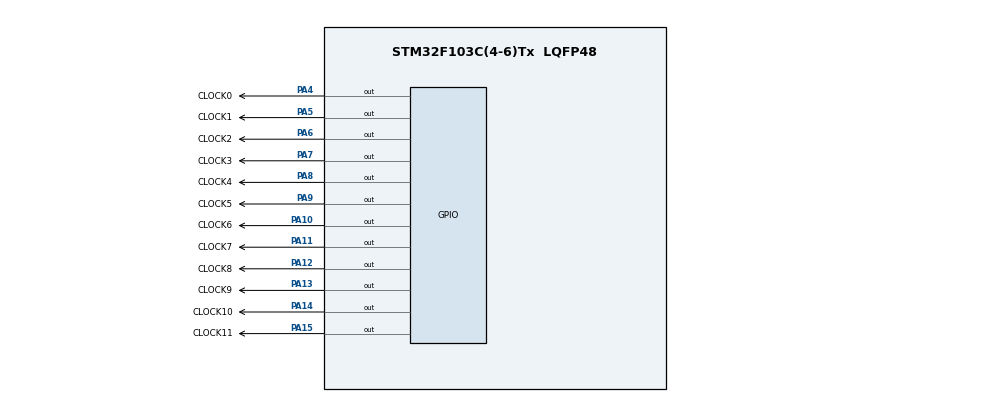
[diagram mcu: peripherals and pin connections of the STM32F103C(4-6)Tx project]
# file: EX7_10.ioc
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Mcu.Family=STM32F1
Mcu.Name=STM32F103C(4-6)Tx
Mcu.Package=LQFP48
NVIC.PriorityGroup=NVIC_PRIORITYGROUP_4
PA10.GPIO_Label=CLOCK6
PA10.Signal=GPIO_Output
PA11.GPIO_Label=CLOCK7
PA11.Signal=GPIO_Output
PA12.GPIO_Label=CLOCK8
PA12.Signal=GPIO_Output
PA13.GPIO_Label=CLOCK9
PA13.Signal=GPIO_Output
PA14.GPIO_Label=CLOCK10
PA14.Signal=GPIO_Output
PA15.GPIO_Label=CLOCK11
PA15.Signal=GPIO_Output
PA4.GPIO_Label=CLOCK0
PA4.Signal=GPIO_Output
PA5.GPIO_Label=CLOCK1
PA5.Signal=GPIO_Output
PA6.GPIO_Label=CLOCK2
PA6.Signal=GPIO_Output
PA7.GPIO_Label=CLOCK3
PA7.Signal=GPIO_Output
PA8.GPIO_Label=CLOCK4
PA8.Signal=GPIO_Output
PA9.GPIO_Label=CLOCK5
PA9.Signal=GPIO_Output
ProjectManager.HeapSize=0x200
ProjectManager.StackSize=0x400
ProjectManager.TargetToolchain=STM32CubeIDE
RCC.APB1Freq_Value=8000000
RCC.APB2Freq_Value=8000000
VP_SYS_VS_ND.Mode=No_Debug
board=custom

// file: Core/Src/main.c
/* USER CODE BEGIN Header */
/**
  ******************************************************************************
  * @file           : main.c
  * @brief          : Main program body
  ******************************************************************************
  * @attention
  *
  * <h2><center>&copy; Copyright (c) 2024 STMicroelectronics.
  * All rights reserved.</center></h2>
  *
  * This software component is licensed by ST under BSD 3-Clause license,
  * the "License"; You may not use this file except in compliance with the
  * License. You may obtain a copy of the License at:
  *                        opensource.org/licenses/BSD-3-Clause
  *
  ******************************************************************************
  */
/* USER CODE END Header */
#include "main.h"

void SystemClock_Config(void);
static void MX_GPIO_Init(void);

int main(void)
{

  /* MCU Configuration--------------------------------------------------------*/

  /* Reset of all peripherals, Initializes the Flash interface and the Systick. */
  HAL_Init();

  /* Configure the system clock */
  SystemClock_Config();

  /* Initialize all configured peripherals */
  MX_GPIO_Init();
  /* USER CODE BEGIN 2 */
  void checkLed(int num){
	  switch (num){
	  case 0:
		  HAL_GPIO_WritePin(CLOCK0_GPIO_Port, CLOCK0_Pin, RESET);
		  HAL_GPIO_WritePin(CLOCK1_GPIO_Port, CLOCK1_Pin, SET);
		  HAL_GPIO_WritePin(CLOCK2_GPIO_Port, CLOCK2_Pin, SET);
		  HAL_GPIO_WritePin(CLOCK3_GPIO_Port, CLOCK3_Pin, SET);
		  HAL_GPIO_WritePin(CLOCK4_GPIO_Port, CLOCK4_Pin, SET);
		  HAL_GPIO_WritePin(CLOCK5_GPIO_Port, CLOCK5_Pin, SET);
		  HAL_GPIO_WritePin(CLOCK6_GPIO_Port, CLOCK6_Pin, SET);
		  HAL_GPIO_WritePin(CLOCK7_GPIO_Port, CLOCK7_Pin, SET);
		  HAL_GPIO_WritePin(CLOCK8_GPIO_Port, CLOCK8_Pin, SET);
		  HAL_GPIO_WritePin(CLOCK9_GPIO_Port, CLOCK9_Pin, SET);
		  HAL_GPIO_WritePin(CLOCK10_GPIO_Port, CLOCK10_Pin, SET);
		  HAL_GPIO_WritePin(CLOCK11_GPIO_Port, CLOCK11_Pin, SET);
		  break;
	  case 1:
		  HAL_GPIO_WritePin(CLOCK0_GPIO_Port, CLOCK0_Pin, SET);
		  HAL_GPIO_WritePin(CLOCK1_GPIO_Port, CLOCK1_Pin, RESET);
		  HAL_GPIO_WritePin(CLOCK2_GPIO_Port, CLOCK2_Pin, SET);
		  HAL_GPIO_WritePin(CLOCK3_GPIO_Port, CLOCK3_Pin, SET);
		  HAL_GPIO_WritePin(CLOCK4_GPIO_Port, CLOCK4_Pin, SET);
		  HAL_GPIO_WritePin(CLOCK5_GPIO_Port, CLOCK5_Pin, SET);
		  HAL_GPIO_WritePin(CLOCK6_GPIO_Port, CLOCK6_Pin, SET);
		  HAL_GPIO_WritePin(CLOCK7_GPIO_Port, CLOCK7_Pin, SET);
		  HAL_GPIO_WritePin(CLOCK8_GPIO_Port, CLOCK8_Pin, SET);
		  HAL_GPIO_WritePin(CLOCK9_GPIO_Port, CLOCK9_Pin, SET);
		  HAL_GPIO_WritePin(CLOCK10_GPIO_Port, CLOCK10_Pin, SET);
		  HAL_GPIO_WritePin(CLOCK11_GPIO_Port, CLOCK11_Pin, SET);
		  break;
	  case 2:
		  HAL_GPIO_WritePin(CLOCK0_GPIO_Port, CLOCK0_Pin, SET);
		  HAL_GPIO_WritePin(CLOCK1_GPIO_Port, CLOCK1_Pin, SET);
		  HAL_GPIO_WritePin(CLOCK2_GPIO_Port, CLOCK2_Pin, RESET);
		  HAL_GPIO_WritePin(CLOCK3_GPIO_Port, CLOCK3_Pin, SET);
		  HAL_GPIO_WritePin(CLOCK4_GPIO_Port, CLOCK4_Pin, SET);
		  HAL_GPIO_WritePin(CLOCK5_GPIO_Port, CLOCK5_Pin, SET);
		  HAL_GPIO_WritePin(CLOCK6_GPIO_Port, CLOCK6_Pin, SET);
		  HAL_GPIO_WritePin(CLOCK7_GPIO_Port, CLOCK7_Pin, SET);
		  HAL_GPIO_WritePin(CLOCK8_GPIO_Port, CLOCK8_Pin, SET);
		  HAL_GPIO_WritePin(CLOCK9_GPIO_Port, CLOCK9_Pin, SET);
		  HAL_GPIO_WritePin(CLOCK10_GPIO_Port, CLOCK10_Pin, SET);
		  HAL_GPIO_WritePin(CLOCK11_GPIO_Port, CLOCK11_Pin, SET);
		  break;
	  case 3:
		  HAL_GPIO_WritePin(CLOCK0_GPIO_Port, CLOCK0_Pin, SET);
		  HAL_GPIO_WritePin(CLOCK1_GPIO_Port, CLOCK1_Pin, SET);
		  HAL_GPIO_WritePin(CLOCK2_GPIO_Port, CLOCK2_Pin, SET);
		  HAL_GPIO_WritePin(CLOCK3_GPIO_Port, CLOCK3_Pin, RESET);
		  HAL_GPIO_WritePin(CLOCK4_GPIO_Port, CLOCK4_Pin, SET);
		  HAL_GPIO_WritePin(CLOCK5_GPIO_Port, CLOCK5_Pin, SET);
		  HAL_GPIO_WritePin(CLOCK6_GPIO_Port, CLOCK6_Pin, SET);
		  HAL_GPIO_WritePin(CLOCK7_GPIO_Port, CLOCK7_Pin, SET);
		  HAL_GPIO_WritePin(CLOCK8_GPIO_Port, CLOCK8_Pin, SET);
		  HAL_GPIO_WritePin(CLOCK9_GPIO_Port, CLOCK9_Pin, SET);
		  HAL_GPIO_WritePin(CLOCK10_GPIO_Port, CLOCK10_Pin, SET);
		  HAL_GPIO_WritePin(CLOCK11_GPIO_Port, CLOCK11_Pin, SET);
		  break;
	  case 4:
		  HAL_GPIO_WritePin(CLOCK0_GPIO_Port, CLOCK0_Pin, SET);
		  HAL_GPIO_WritePin(CLOCK1_GPIO_Port, CLOCK1_Pin, SET);
		  HAL_GPIO_WritePin(CLOCK2_GPIO_Port, CLOCK2_Pin, SET);
		  HAL_GPIO_WritePin(CLOCK3_GPIO_Port, CLOCK3_Pin, SET);
		  HAL_GPIO_WritePin(CLOCK4_GPIO_Port, CLOCK4_Pin, RESET);
		  HAL_GPIO_WritePin(CLOCK5_GPIO_Port, CLOCK5_Pin, SET);
		  HAL_GPIO_WritePin(CLOCK6_GPIO_Port, CLOCK6_Pin, SET);
		  HAL_GPIO_WritePin(CLOCK7_GPIO_Port, CLOCK7_Pin, SET);
		  HAL_GPIO_WritePin(CLOCK8_GPIO_Port, CLOCK8_Pin, SET);
		  HAL_GPIO_WritePin(CLOCK9_GPIO_Port, CLOCK9_Pin, SET);
		  HAL_GPIO_WritePin(CLOCK10_GPIO_Port, CLOCK10_Pin, SET);
		  HAL_GPIO_WritePin(CLOCK11_GPIO_Port, CLOCK11_Pin, SET);
		  break;
	  case 5:
		  HAL_GPIO_WritePin(CLOCK0_GPIO_Port, CLOCK0_Pin, SET);
		  HAL_GPIO_WritePin(CLOCK1_GPIO_Port, CLOCK1_Pin, SET);
		  HAL_GPIO_WritePin(CLOCK2_GPIO_Port, CLOCK2_Pin, SET);
		  HAL_GPIO_WritePin(CLOCK3_GPIO_Port, CLOCK3_Pin, SET);
		  HAL_GPIO_WritePin(CLOCK4_GPIO_Port, CLOCK4_Pin, SET);
		  HAL_GPIO_WritePin(CLOCK5_GPIO_Port, CLOCK5_Pin, RESET);
		  HAL_GPIO_WritePin(CLOCK6_GPIO_Port, CLOCK6_Pin, SET);
		  HAL_GPIO_WritePin(CLOCK7_GPIO_Port, CLOCK7_Pin, SET);
		  HAL_GPIO_WritePin(CLOCK8_GPIO_Port, CLOCK8_Pin, SET);
		  HAL_GPIO_WritePin(CLOCK9_GPIO_Port, CLOCK9_Pin, SET);
		  HAL_GPIO_WritePin(CLOCK10_GPIO_Port, CLOCK10_Pin, SET);
		  HAL_GPIO_WritePin(CLOCK11_GPIO_Port, CLOCK11_Pin, SET);
		  break;
	  case 6:
		  HAL_GPIO_WritePin(CLOCK0_GPIO_Port, CLOCK0_Pin, SET);
		  HAL_GPIO_WritePin(CLOCK1_GPIO_Port, CLOCK1_Pin, SET);
		  HAL_GPIO_WritePin(CLOCK2_GPIO_Port, CLOCK2_Pin, SET);
		  HAL_GPIO_WritePin(CLOCK3_GPIO_Port, CLOCK3_Pin, SET);
		  HAL_GPIO_WritePin(CLOCK4_GPIO_Port, CLOCK4_Pin, SET);
		  HAL_GPIO_WritePin(CLOCK5_GPIO_Port, CLOCK5_Pin, SET);
		  HAL_GPIO_WritePin(CLOCK6_GPIO_Port, CLOCK6_Pin, RESET);
		  HAL_GPIO_WritePin(CLOCK7_GPIO_Port, CLOCK7_Pin, SET);
		  HAL_GPIO_WritePin(CLOCK8_GPIO_Port, CLOCK8_Pin, SET);
		  HAL_GPIO_WritePin(CLOCK9_GPIO_Port, CLOCK9_Pin, SET);
		  HAL_GPIO_WritePin(CLOCK10_GPIO_Port, CLOCK10_Pin, SET);
		  HAL_GPIO_WritePin(CLOCK11_GPIO_Port, CLOCK11_Pin, SET);
		  break;
	  case 7:
		  HAL_GPIO_WritePin(CLOCK0_GPIO_Port, CLOCK0_Pin, SET);
		  HAL_GPIO_WritePin(CLOCK1_GPIO_Port, CLOCK1_Pin, SET);
		  HAL_GPIO_WritePin(CLOCK2_GPIO_Port, CLOCK2_Pin, SET);
		  HAL_GPIO_WritePin(CLOCK3_GPIO_Port, CLOCK3_Pin, SET);
		  HAL_GPIO_WritePin(CLOCK4_GPIO_Port, CLOCK4_Pin, SET);
		  HAL_GPIO_WritePin(CLOCK5_GPIO_Port, CLOCK5_Pin, SET);
		  HAL_GPIO_WritePin(CLOCK6_GPIO_Port, CLOCK6_Pin, SET);
		  HAL_GPIO_WritePin(CLOCK7_GPIO_Port, CLOCK7_Pin, RESET);
		  HAL_GPIO_WritePin(CLOCK8_GPIO_Port, CLOCK8_Pin, SET);
		  HAL_GPIO_WritePin(CLOCK9_GPIO_Port, CLOCK9_Pin, SET);
		  HAL_GPIO_WritePin(CLOCK10_GPIO_Port, CLOCK10_Pin, SET);
		  HAL_GPIO_WritePin(CLOCK11_GPIO_Port, CLOCK11_Pin, SET);
		  break;
	  case 8:
		  HAL_GPIO_WritePin(CLOCK0_GPIO_Port, CLOCK0_Pin, SET);
		  HAL_GPIO_WritePin(CLOCK1_GPIO_Port, CLOCK1_Pin, SET);
		  HAL_GPIO_WritePin(CLOCK2_GPIO_Port, CLOCK2_Pin, SET);
		  HAL_GPIO_WritePin(CLOCK3_GPIO_Port, CLOCK3_Pin, SET);
		  HAL_GPIO_WritePin(CLOCK4_GPIO_Port, CLOCK4_Pin, SET);
		  HAL_GPIO_WritePin(CLOCK5_GPIO_Port, CLOCK5_Pin, SET);
		  HAL_GPIO_WritePin(CLOCK6_GPIO_Port, CLOCK6_Pin, SET);
		  HAL_GPIO_WritePin(CLOCK7_GPIO_Port, CLOCK7_Pin, SET);
		  HAL_GPIO_WritePin(CLOCK8_GPIO_Port, CLOCK8_Pin, RESET);
		  HAL_GPIO_WritePin(CLOCK9_GPIO_Port, CLOCK9_Pin, SET);
		  HAL_GPIO_WritePin(CLOCK10_GPIO_Port, CLOCK10_Pin, SET);
		  HAL_GPIO_WritePin(CLOCK11_GPIO_Port, CLOCK11_Pin, SET);
		  break;
	  case 9:
		  HAL_GPIO_WritePin(CLOCK0_GPIO_Port, CLOCK0_Pin, SET);
		  HAL_GPIO_WritePin(CLOCK1_GPIO_Port, CLOCK1_Pin, SET);
		  HAL_GPIO_WritePin(CLOCK2_GPIO_Port, CLOCK2_Pin, SET);
		  HAL_GPIO_WritePin(CLOCK3_GPIO_Port, CLOCK3_Pin, SET);
		  HAL_GPIO_WritePin(CLOCK4_GPIO_Port, CLOCK4_Pin, SET);
		  HAL_GPIO_WritePin(CLOCK5_GPIO_Port, CLOCK5_Pin, SET);
		  HAL_GPIO_WritePin(CLOCK6_GPIO_Port, CLOCK6_Pin, SET);
		  HAL_GPIO_WritePin(CLOCK7_GPIO_Port, CLOCK7_Pin, SET);
		  HAL_GPIO_WritePin(CLOCK8_GPIO_Port, CLOCK8_Pin, SET);
		  HAL_GPIO_WritePin(CLOCK9_GPIO_Port, CLOCK9_Pin, RESET);
		  HAL_GPIO_WritePin(CLOCK10_GPIO_Port, CLOCK10_Pin, SET);
		  HAL_GPIO_WritePin(CLOCK11_GPIO_Port, CLOCK11_Pin, SET);
		  break;
	  case 10:
		  HAL_GPIO_WritePin(CLOCK0_GPIO_Port, CLOCK0_Pin, SET);
		  HAL_GPIO_WritePin(CLOCK1_GPIO_Port, CLOCK1_Pin, SET);
		  HAL_GPIO_WritePin(CLOCK2_GPIO_Port, CLOCK2_Pin, SET);
		  HAL_GPIO_WritePin(CLOCK3_GPIO_Port, CLOCK3_Pin, SET);
		  HAL_GPIO_WritePin(CLOCK4_GPIO_Port, CLOCK4_Pin, SET);
		  HAL_GPIO_WritePin(CLOCK5_GPIO_Port, CLOCK5_Pin, SET);
		  HAL_GPIO_WritePin(CLOCK6_GPIO_Port, CLOCK6_Pin, SET);
		  HAL_GPIO_WritePin(CLOCK7_GPIO_Port, CLOCK7_Pin, SET);
		  HAL_GPIO_WritePin(CLOCK8_GPIO_Port, CLOCK8_Pin, SET);
		  HAL_GPIO_WritePin(CLOCK9_GPIO_Port, CLOCK9_Pin, SET);
		  HAL_GPIO_WritePin(CLOCK10_GPIO_Port, CLOCK10_Pin, RESET);
		  HAL_GPIO_WritePin(CLOCK11_GPIO_Port, CLOCK11_Pin, SET);
		  break;
	  case 11:
		  HAL_GPIO_WritePin(CLOCK0_GPIO_Port, CLOCK0_Pin, SET);
		  HAL_GPIO_WritePin(CLOCK1_GPIO_Port, CLOCK1_Pin, SET);
		  HAL_GPIO_WritePin(CLOCK2_GPIO_Port, CLOCK2_Pin, SET);
		  HAL_GPIO_WritePin(CLOCK3_GPIO_Port, CLOCK3_Pin, SET);
		  HAL_GPIO_WritePin(CLOCK4_GPIO_Port, CLOCK4_Pin, SET);
		  HAL_GPIO_WritePin(CLOCK5_GPIO_Port, CLOCK5_Pin, SET);
		  HAL_GPIO_WritePin(CLOCK6_GPIO_Port, CLOCK6_Pin, SET);
		  HAL_GPIO_WritePin(CLOCK7_GPIO_Port, CLOCK7_Pin, SET);
		  HAL_GPIO_WritePin(CLOCK8_GPIO_Port, CLOCK8_Pin, SET);
		  HAL_GPIO_WritePin(CLOCK9_GPIO_Port, CLOCK9_Pin, SET);
		  HAL_GPIO_WritePin(CLOCK10_GPIO_Port, CLOCK10_Pin, SET);
		  HAL_GPIO_WritePin(CLOCK11_GPIO_Port, CLOCK11_Pin, RESET);
		  break;
	  default:
		  break;
	  }
  }

  void clearAllClock(){
	  HAL_GPIO_WritePin(CLOCK0_GPIO_Port, CLOCK0_Pin, SET);
	  HAL_GPIO_WritePin(CLOCK1_GPIO_Port, CLOCK1_Pin, SET);
	  HAL_GPIO_WritePin(CLOCK2_GPIO_Port, CLOCK2_Pin, SET);
	  HAL_GPIO_WritePin(CLOCK3_GPIO_Port, CLOCK3_Pin, SET);
	  HAL_GPIO_WritePin(CLOCK4_GPIO_Port, CLOCK4_Pin, SET);
	  HAL_GPIO_WritePin(CLOCK5_GPIO_Port, CLOCK5_Pin, SET);
	  HAL_GPIO_WritePin(CLOCK6_GPIO_Port, CLOCK6_Pin, SET);
	  HAL_GPIO_WritePin(CLOCK7_GPIO_Port, CLOCK7_Pin, SET);
	  HAL_GPIO_WritePin(CLOCK8_GPIO_Port, CLOCK8_Pin, SET);
	  HAL_GPIO_WritePin(CLOCK9_GPIO_Port, CLOCK9_Pin, SET);
	  HAL_GPIO_WritePin(CLOCK10_GPIO_Port, CLOCK10_Pin, SET);
	  HAL_GPIO_WritePin(CLOCK11_GPIO_Port, CLOCK11_Pin, SET);
  }

  void setNumberOnClock(int num) {
	  switch (num){
	  case 0:
		  HAL_GPIO_WritePin(CLOCK0_GPIO_Port, CLOCK0_Pin, RESET);
		  break;
	  case 1:
		  HAL_GPIO_WritePin(CLOCK1_GPIO_Port, CLOCK1_Pin, RESET);
		  break;
	  case 2:
		  HAL_GPIO_WritePin(CLOCK2_GPIO_Port, CLOCK2_Pin, RESET);
		  break;
	  case 3:
		  HAL_GPIO_WritePin(CLOCK3_GPIO_Port, CLOCK3_Pin, RESET);
		  break;
	  case 4:
		  HAL_GPIO_WritePin(CLOCK4_GPIO_Port, CLOCK4_Pin, RESET);
		  break;
	  case 5:
		  HAL_GPIO_WritePin(CLOCK5_GPIO_Port, CLOCK5_Pin, RESET);
		  break;
	  case 6:
		  HAL_GPIO_WritePin(CLOCK6_GPIO_Port, CLOCK6_Pin, RESET);
		  break;
	  case 7:
		  HAL_GPIO_WritePin(CLOCK7_GPIO_Port, CLOCK7_Pin, RESET);
		  break;
	  case 8:
		  HAL_GPIO_WritePin(CLOCK8_GPIO_Port, CLOCK8_Pin, RESET);
		  break;
	  case 9:
		  HAL_GPIO_WritePin(CLOCK9_GPIO_Port, CLOCK9_Pin, RESET);
		  break;
	  case 10:
		  HAL_GPIO_WritePin(CLOCK10_GPIO_Port, CLOCK10_Pin, RESET);
		  break;
	  case 11:
		  HAL_GPIO_WritePin(CLOCK0_GPIO_Port, CLOCK0_Pin, RESET);
		  break;
	  default:
		  break;
  	  }
  }

  void clearNumberOnClock(int num) {
	  switch (num){
	  case 0:
		  HAL_GPIO_WritePin(CLOCK0_GPIO_Port, CLOCK0_Pin, SET);
		  break;
	  case 1:
		  HAL_GPIO_WritePin(CLOCK1_GPIO_Port, CLOCK1_Pin, SET);
		  break;
	  case 2:
		  HAL_GPIO_WritePin(CLOCK2_GPIO_Port, CLOCK2_Pin, SET);
		  break;
	  case 3:
		  HAL_GPIO_WritePin(CLOCK3_GPIO_Port, CLOCK3_Pin, SET);
		  break;
	  case 4:
		  HAL_GPIO_WritePin(CLOCK4_GPIO_Port, CLOCK4_Pin, SET);
		  break;
	  case 5:
		  HAL_GPIO_WritePin(CLOCK5_GPIO_Port, CLOCK5_Pin, SET);
		  break;
	  case 6:
		  HAL_GPIO_WritePin(CLOCK6_GPIO_Port, CLOCK6_Pin, SET);
		  break;
	  case 7:
		  HAL_GPIO_WritePin(CLOCK7_GPIO_Port, CLOCK7_Pin, SET);
		  break;
	  case 8:
		  HAL_GPIO_WritePin(CLOCK8_GPIO_Port, CLOCK8_Pin, SET);
		  break;
	  case 9:
		  HAL_GPIO_WritePin(CLOCK9_GPIO_Port, CLOCK9_Pin, SET);
		  break;
	  case 10:
		  HAL_GPIO_WritePin(CLOCK10_GPIO_Port, CLOCK10_Pin, SET);
		  break;
	  case 11:
		  HAL_GPIO_WritePin(CLOCK0_GPIO_Port, CLOCK0_Pin, SET);
		  break;
	  default:
		  break;
      }
  }

  static int hour = 2, minute = 15, second = 20;

  void analogClock(){

	  if (second == 60) {
		  second = 0;
		  minute++;
	  }

	  if (minute == 60) {
		  minute = 0;
		  second = 0;
		  hour ++;
	  }

	  if (hour == 12){
		  hour = 0;
		  minute = 0;
		  second = 0;
	  }
	  setNumberOnClock(hour);
	  setNumberOnClock(minute/5);
	  setNumberOnClock(second/5);
	  second++;
  }
  /* USER CODE END 2 */

  /* Infinite loop */
  while (1)
  {
	  clearAllClock();
	  analogClock();
	  HAL_Delay(50);
  }
}

void SystemClock_Config(void)
{
  RCC_OscInitTypeDef RCC_OscInitStruct = {0};
  RCC_ClkInitTypeDef RCC_ClkInitStruct = {0};

  /** Initializes the RCC Oscillators according to the specified parameters
  * in the RCC_OscInitTypeDef structure.
  */
  RCC_OscInitStruct.OscillatorType = RCC_OSCILLATORTYPE_HSI;
  RCC_OscInitStruct.HSIState = RCC_HSI_ON;
  RCC_OscInitStruct.HSICalibrationValue = RCC_HSICALIBRATION_DEFAULT;
  RCC_OscInitStruct.PLL.PLLState = RCC_PLL_NONE;
  if (HAL_RCC_OscConfig(&RCC_OscInitStruct) != HAL_OK)
  {
    Error_Handler();
  }
  /** Initializes the CPU, AHB and APB buses clocks
  */
  RCC_ClkInitStruct.ClockType = RCC_CLOCKTYPE_HCLK|RCC_CLOCKTYPE_SYSCLK
                              |RCC_CLOCKTYPE_PCLK1|RCC_CLOCKTYPE_PCLK2;
  RCC_ClkInitStruct.SYSCLKSource = RCC_SYSCLKSOURCE_HSI;
  RCC_ClkInitStruct.AHBCLKDivider = RCC_SYSCLK_DIV1;
  RCC_ClkInitStruct.APB1CLKDivider = RCC_HCLK_DIV1;
  RCC_ClkInitStruct.APB2CLKDivider = RCC_HCLK_DIV1;

  if (HAL_RCC_ClockConfig(&RCC_ClkInitStruct, FLASH_LATENCY_0) != HAL_OK)
  {
    Error_Handler();
  }
}

static void MX_GPIO_Init(void)
{
  GPIO_InitTypeDef GPIO_InitStruct = {0};

  /* GPIO Ports Clock Enable */
  __HAL_RCC_GPIOA_CLK_ENABLE();

  /*Configure GPIO pin Output Level */
  HAL_GPIO_WritePin(GPIOA, CLOCK0_Pin|CLOCK1_Pin|CLOCK2_Pin|CLOCK3_Pin
                          |CLOCK4_Pin|CLOCK5_Pin|CLOCK6_Pin|CLOCK7_Pin
                          |CLOCK8_Pin|CLOCK9_Pin|CLOCK10_Pin|CLOCK11_Pin, GPIO_PIN_RESET);

  /*Configure GPIO pins : CLOCK0_Pin CLOCK1_Pin CLOCK2_Pin CLOCK3_Pin
                           CLOCK4_Pin CLOCK5_Pin CLOCK6_Pin CLOCK7_Pin
                           CLOCK8_Pin CLOCK9_Pin CLOCK10_Pin CLOCK11_Pin */
  GPIO_InitStruct.Pin = CLOCK0_Pin|CLOCK1_Pin|CLOCK2_Pin|CLOCK3_Pin
                          |CLOCK4_Pin|CLOCK5_Pin|CLOCK6_Pin|CLOCK7_Pin
                          |CLOCK8_Pin|CLOCK9_Pin|CLOCK10_Pin|CLOCK11_Pin;
  GPIO_InitStruct.Mode = GPIO_MODE_OUTPUT_PP;
  GPIO_InitStruct.Pull = GPIO_NOPULL;
  GPIO_InitStruct.Speed = GPIO_SPEED_FREQ_LOW;
  HAL_GPIO_Init(GPIOA, &GPIO_InitStruct);

}

void Error_Handler(void)
{
  __disable_irq();
  while (1)
  {
  }
}

/************************ (C) COPYRIGHT STMicroelectronics *****END OF FILE****/
